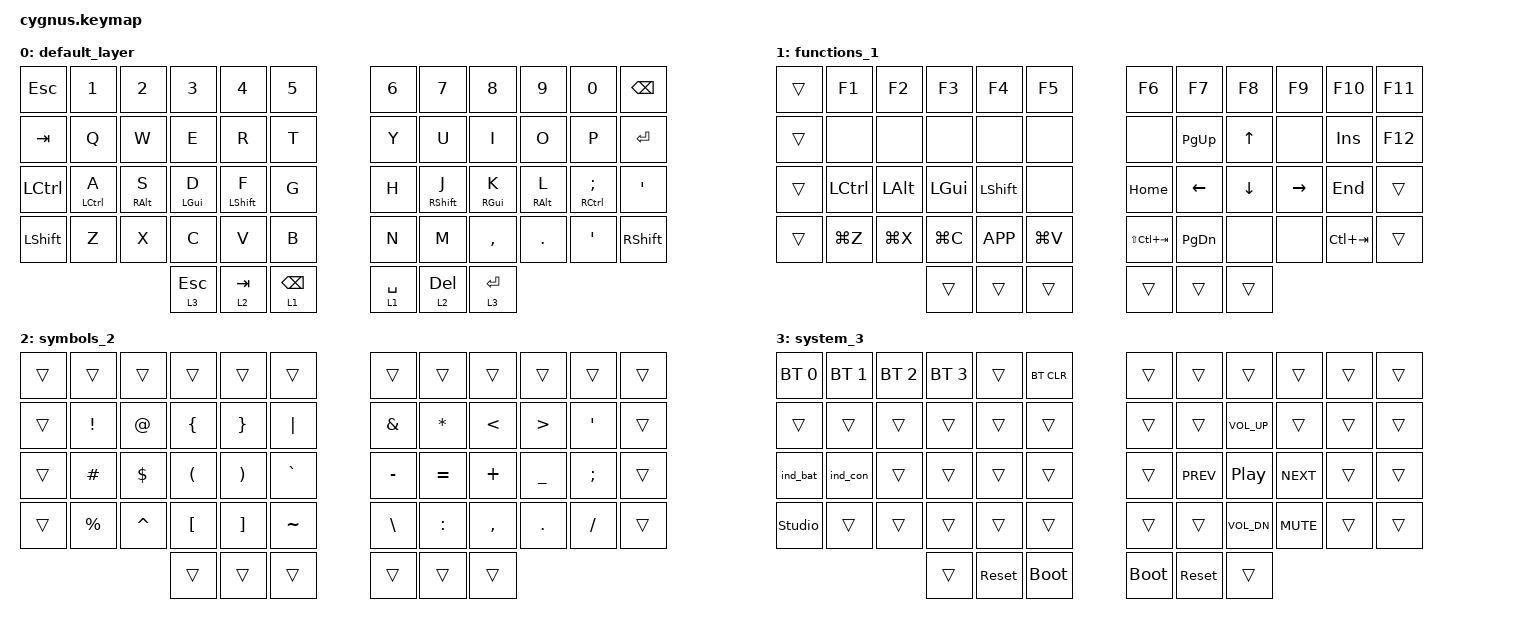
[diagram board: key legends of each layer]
#include <behaviors.dtsi>
#include <dt-bindings/zmk/bt.h>
#include <dt-bindings/zmk/keys.h>
#include <behaviors/rgbled_widget.dtsi>

/ {
    combos {
        compatible = "zmk,combos";

        bluetooth {
            bindings = <&mo 3>;
            key-positions = <41 36>;
        };

        bt2 {
            bindings = <&mo 3>;
            key-positions = <48 53>;
        };
    };

    behaviors {
        hml: hml {
            compatible = "zmk,behavior-hold-tap";
            label = "HOME_ROW_LEFT";
            bindings = <&kp>, <&kp>;

            #binding-cells = <2>;
            hold-trigger-key-positions = <6 7 8 9 10 11 18 19 20 21 22 23 30 31 32 33 34 35 42 43 44 45 46 47>;
            tapping-term-ms = <180>;
            quick-tap-ms = <175>;
            require-prior-idle-ms = <150>;
            flavor = "balanced";
            hold-trigger-on-release;
        };

        hmr: hmr {
            compatible = "zmk,behavior-hold-tap";
            label = "HOME_ROW_RIGHT";
            bindings = <&kp>, <&kp>;

            #binding-cells = <2>;
            tapping-term-ms = <180>;
            quick-tap-ms = <175>;
            require-prior-idle-ms = <150>;
            flavor = "balanced";
            hold-trigger-key-positions = <0 1 2 3 4 5 12 13 14 15 16 17 24 25 26 27 28 29 36 37 38 39 40 41>;
            hold-trigger-on-release;
        };
    };

    keymap {
        compatible = "zmk,keymap";

        default_layer {
            // -----------------------------------------------------------------------------------------
            // |  ESC |  1  |  2  |  3  |  4  |  5  |   |  6  |  7   |  8  |  9  |  0  |  BKSP  |
            // |  TAB |  Q  |  W  |  E  |  R  |  T  |   |  Y  |  U   |  I  |  O  |  P  |  ENT   |
            // | CTRL |  A  |  S  |  D  |  F  |  G  |   |  H  |  J   |  K  |  L  |  ;  |  '     |
            // | SHFT |  Z  |  X  |  C  |  V  |  B  |   |  N  |  M   |  ,  |  .  |  /  |  SHFT  |
            //          | L3/ESC | L2/TAB | L1/BKSP |   | L1/SPC | L2/DEL  | L3/ENT |

            bindings = <
&kp ESCAPE  &kp N1  &kp N2            &kp N3           &kp N4               &kp N5             &kp N6     &kp N7                &kp N8            &kp N9            &kp N0            &kp BSPC
&kp TAB     &kp Q   &kp W             &kp E            &kp R                &kp T              &kp Y      &kp U                 &kp I             &kp O             &kp P             &kp ENTER
&kp LCTRL   &hml LCTRL A   &hml RIGHT_ALT S  &hml LEFT_GUI D  &hml LEFT_SHIFT F    &kp G       &kp H      &hmr RIGHT_SHIFT J    &hmr RIGHT_GUI K  &hmr RIGHT_ALT L  &hmr RCTRL SEMI &kp SQT
&kp LSHFT   &kp Z   &kp X             &kp C            &kp V                &kp B              &kp N      &kp M                 &kp COMMA         &kp DOT           &kp SINGLE_QUOTE  &kp RIGHT_SHIFT
                                      &lt 3 ESC        &lt 2 TAB            &lt 1 BACKSPACE    &lt 1 SPACE  &lt 2 DEL             &lt 3 ENTER
            >;
        };

        functions_1 {
            // -----------------------------------------------------------------------------------------
            // |      |  F1 |  F2 |  F3 |  F4 |  F5 |   |  F6 |  F7 |  F8 |  F9 | F10 | F11 |
            // |      |     |     |     |     |     |   |     | PGUP|  UP |     | INS | F12 |
            // |      | CTRL| ALT | GUI | SHFT|     |   | HOME| LEFT| DOWN| RIGT| END |     |
            // |      | UNDO| CUT | COPY| APP | PSTE|   | LTAB| PGDN|     |     | RTAB|     |
            //                    |     |     |     |   |     |     |     |

            bindings = <
&trans  &kp F1        &kp F2        &kp F3        &kp F4        &kp F5           &kp F6     &kp F7     &kp F8    &kp F9    &kp F10    &kp F11
&trans  &none         &none         &none         &none         &none            &none      &kp PG_UP  &kp UP    &none     &kp INS    &kp F12
&trans  &kp LCTRL     &kp LALT      &kp LGUI      &kp LSHFT     &none            &kp HOME   &kp LEFT   &kp DOWN  &kp RIGHT &kp END    &trans
&trans  &kp LG(Z)     &kp LG(X)     &kp LG(C)     &kp K_APP     &kp LG(V)        &kp LS(LC(TAB)) &kp PG_DN &none &none     &kp LC(TAB) &trans
                                    &trans        &trans        &trans       &trans     &trans     &trans
            >;
        };

        symbols_2 {
            // -----------------------------------------------------------------------------------------
            // |      |     |     |     |     |     |   |     |     |     |     |     |      |
            // |      |  !  |  @  |  {  |  }  | "|" |   |  &  |  *  |  <  |  >  |  '  |      |
            // |      |  #  |  $  |  (  |  )  |  `  |   |  -  |  =  |  +  |  _  |  ;  |      |
            // |      |  %  |  ^  |  [  |  ]  |  ~  |   |  \  |  :  |  ,  |  .  |  /  |      |
            //                    |     |     |     |   |     |     |     |

            bindings = <
&trans  &trans      &trans    &trans   &trans   &trans          &trans    &trans    &trans    &trans    &trans   &trans
&trans  &kp EXCL    &kp AT    &kp LBRC &kp RBRC &kp PIPE        &kp AMPS  &kp ASTRK &kp LT    &kp GT    &kp SQT  &trans
&trans  &kp HASH    &kp DLLR  &kp LPAR &kp RPAR &kp GRAVE       &kp MINUS &kp EQUAL &kp PLUS  &kp UNDER &kp SEMI &trans
&trans  &kp PRCNT   &kp CARET &kp LBKT &kp RBKT &kp TILDE       &kp BSLH  &kp COLON &kp COMMA &kp DOT   &kp FSLH &trans
                          &trans    &trans    &trans            &trans     &trans     &trans
            >;
        };

        system_3 {
            bindings = <
&bt BT_SEL 0  &bt BT_SEL 1  &bt BT_SEL 2  &bt BT_SEL 3  &trans  &bt BT_CLR    &trans  &trans  &trans  &trans          &trans  &trans
&trans        &trans        &trans        &trans        &trans  &trans        &trans  &trans  &kp C_VOL_UP    &trans  &trans  &trans
&ind_bat      &ind_con      &trans        &trans        &trans  &trans        &trans  &kp C_PREV  &kp C_PP &kp C_NEXT &trans  &trans
&studio_unlock &trans       &trans        &trans        &trans  &trans        &trans  &trans  &kp C_VOL_DN &kp C_MUTE &trans  &trans
                                          &trans        &sys_reset &bootloader &bootloader &sys_reset &trans
            >;
        };
    };
};
